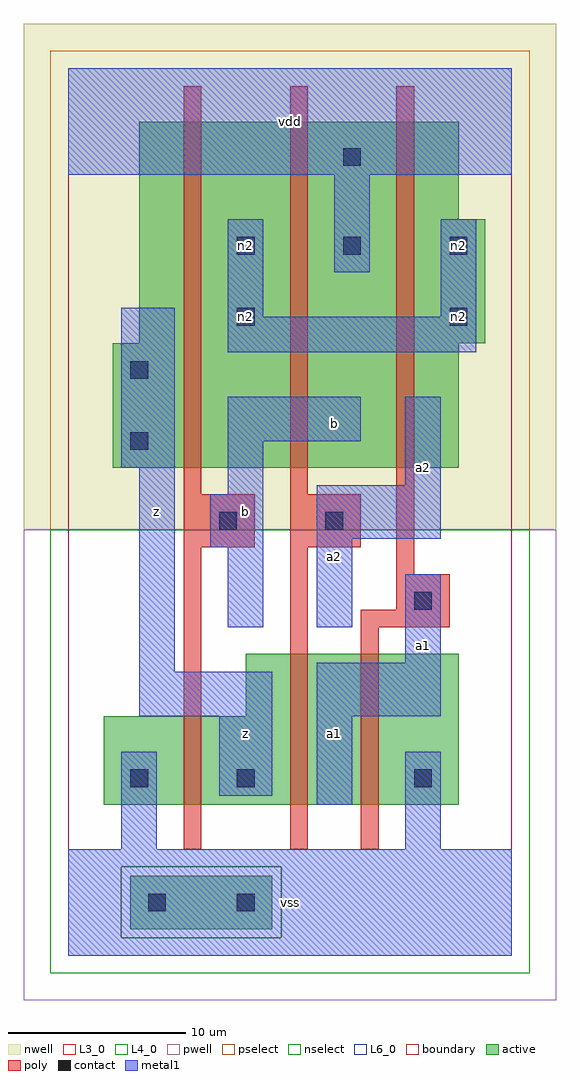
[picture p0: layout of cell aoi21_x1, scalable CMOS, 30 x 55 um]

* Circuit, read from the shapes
.subckt aoi21_x1 a1 a2 b n2 vdd vss z
M1 z b vss vss nfet w=5u l=1u
M2 n1 a2 z vss nfet w=8.5u l=1u
M3 vss a1 n1 vss nfet w=8.5u l=1u
M4 n2 b z n3 pfet w=19.5u l=1u
M5 vdd a2 n2 n3 pfet w=19.5u l=1u
M6 n2 a1 vdd n3 pfet w=19.5u l=1u
.ends

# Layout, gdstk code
import gdstk
lib = gdstk.Library(unit=1e-6, precision=1e-09)
def R(c, l, rs):  # rectangles x0, y0, x1, y1
    for r in rs: c.add(gdstk.rectangle(r[:2], r[2:], *l))
def A(c, l, x, y, w, h, nx, ny, dx, dy):  # array of equal rectangles
    R(c, l, [(x+i*dx, y+j*dy, x+i*dx+w, y+j*dy+h) for i in range(nx) for j in range(ny)])
L3_0 = (3, 0)
L4_0 = (4, 0)
L6_0 = (6, 0)
contact = (25, 0)
pwell = (41, 0)
nwell = (42, 0)
active = (43, 0)
pselect = (44, 0)
nselect = (45, 0)
poly = (46, 0)
metal1 = (49, 0)
boundary = (63, 0)

aoi21_x1 = lib.new_cell('aoi21_x1')
R(aoi21_x1, L3_0, [(2,8.5,22,13.5), (10,13.5,22,17)])
R(aoi21_x1, L4_0, [(2.5,27.5,22,34.5), (4,34.5,23.5,41.5), (4,41.5,22,47)])
R(aoi21_x1, L6_0, [(3.5,1.5,11.5,4.5)])
A(aoi21_x1, contact, 9.5, 39.5, 1, 1, 3, 1, 6, 0)
R(aoi21_x1, contact, [(4.5,2.5,5.5,3.5), (9.5,2.5,10.5,3.5), (3.5,9.5,4.5,10.5), (9.5,9.5,10.5,10.5), (19.5,9.5,20.5,10.5), (19.5,19.5,20.5,20.5), (8.5,24,9.5,25), (14.5,24,15.5,25), (3.5,28.5,4.5,29.5), (3.5,32.5,4.5,33.5), (9.5,35.5,10.5,36.5), (21.5,35.5,22.5,36.5), (15.5,44.5,16.5,45.5)])
R(aoi21_x1, pwell, [(-2.5,-2.5,27.5,24)])
R(aoi21_x1, nwell, [(-2.5,24,27.5,52.5)])
R(aoi21_x1, active, [(3.5,1.5,11.5,4.5), (2,8.5,22,13.5), (10,13.5,22,17), (2.5,27.5,22,34.5), (4,34.5,23.5,41.5), (4,41.5,22,47)])
R(aoi21_x1, pselect, [(3,1,12,5), (-1,24,26,51)])
R(aoi21_x1, nselect, [(-1,-1,26,1), (-1,1,3,5), (12,1,26,5), (-1,5,26,24)])
R(aoi21_x1, poly, [(6.5,6,7.5,23), (12.5,6,13.5,23), (16.5,6,17.5,18.5), (16.5,18.5,21.5,19.5), (18.5,19.5,21.5,21.5), (18.5,21.5,19.5,49), (6.5,23,10.5,26), (12.5,23,16.5,26), (6.5,26,7.5,49), (12.5,26,13.5,49)])
R(aoi21_x1, metal1, [(0,0,25,6), (0,0,25,6), (3,6,5,11.5), (3,6,5,11.5), (19,6,21,11.5), (19,6,21,11.5), (14,8.5,16,13.5), (14,8.5,16,13.5), (8.5,9,11.5,13.5), (8.5,9,11.5,13.5), (4,13.5,11.5,16), (4,13.5,11.5,16), (14,13.5,21,16.5), (14,13.5,21,16.5), (4,16,6,27.5), (4,16,6,27.5), (19,16.5,21,21.5), (19,16.5,21,21.5), (9,18.5,11,23), (9,18.5,11,23), (14,18.5,16,23.5), (14,18.5,16,23.5), (8,23,11,26), (8,23,11,26), (14,23.5,21,26.5), (14,23.5,21,26.5), (9,26,11,29), (9,26,11,29), (19,26.5,21,31.5), (19,26.5,21,31.5), (3,27.5,6,36.5), (3,27.5,6,36.5), (9,29,16.5,31.5), (9,29,16.5,31.5), (9,34,23,36), (9,34,23,36), (9,36,11,41.5), (9,36,11,41.5), (21,36,23,41.5), (21,36,23,41.5), (15,38.5,17,44), (15,38.5,17,44), (0,44,25,50), (0,44,25,50)])
R(aoi21_x1, boundary, [(0,0,25,50)])
aoi21_x1.add(gdstk.Label('n2', (10,40), layer=49, texttype=0))
aoi21_x1.add(gdstk.Label('n2', (10,36), layer=49, texttype=0))
aoi21_x1.add(gdstk.Label('n2', (22,40), layer=49, texttype=0))
aoi21_x1.add(gdstk.Label('n2', (22,36), layer=49, texttype=0))
aoi21_x1.add(gdstk.Label('z', (10,12.5), layer=49, texttype=0))
aoi21_x1.add(gdstk.Label('b', (10,25), layer=49, texttype=0))
aoi21_x1.add(gdstk.Label('z', (5,25), layer=49, texttype=0))
aoi21_x1.add(gdstk.Label('vss', (12.5,3), layer=49, texttype=0))
aoi21_x1.add(gdstk.Label('a1', (15,12.5), layer=49, texttype=0))
aoi21_x1.add(gdstk.Label('a2', (15,22.5), layer=49, texttype=0))
aoi21_x1.add(gdstk.Label('b', (15,30), layer=49, texttype=0))
aoi21_x1.add(gdstk.Label('vdd', (12.5,47), layer=49, texttype=0))
aoi21_x1.add(gdstk.Label('a1', (20,17.5), layer=49, texttype=0))
aoi21_x1.add(gdstk.Label('a2', (20,27.5), layer=49, texttype=0))

lib.write_gds('aoi21_x1.gds')
